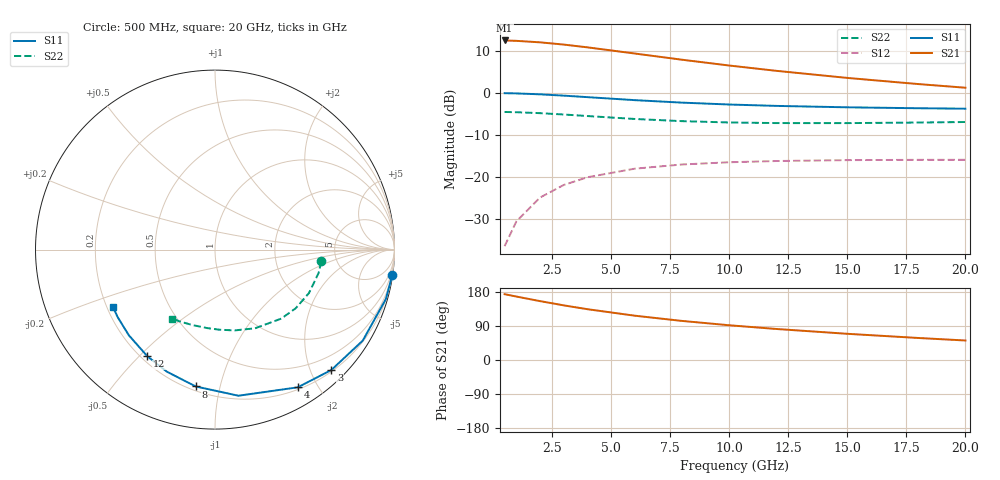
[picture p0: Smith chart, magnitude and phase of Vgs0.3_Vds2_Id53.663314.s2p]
# Hz S RI R 50
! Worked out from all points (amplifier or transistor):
!   12 points, 500 MHz to 20 GHz, reference 50 ohm
!   highest |S21| = 12.5 dB at 500 MHz (marker M1)
!   |S21| within 3 dB of that: start of sweep to 5.857 GHz
!   unconditionally stable (mu >= 1): 18.29 GHz to end of sweep
!   at 2 GHz: K = 0.11, MSG = 18.5 dB, |S12| = -24.9 dB
!   at 8 GHz: K = 0.43, MSG = 12.5 dB, |S12| = -17.0 dB
!   at 20 GHz: K = 1.10, MAG = 6.7 dB, |S12| = -15.9 dB
!   S11 on the Smith chart (normalised r, x): 500 MHz: 0, -14; 3 GHz: 0.23, -2.34; 4 GHz: 0.23, -1.75; 8 GHz: 0.23, -0.84; 12 GHz: 0.22, -0.53; 20 GHz: 0.22, -0.25
5e8  0.9878 -0.1407  -4.212 0.4668  0.00143 0.0149  0.5922 -0.0663
1e9  0.9521 -0.2753  -4.092 0.913  0.00559 0.0292  0.5773 -0.1301
2e9  0.8234 -0.5068  -3.658 1.678  0.0206 0.0532  0.5234 -0.2424
3e9  0.6483 -0.6708  -3.07 2.213  0.0409 0.0692  0.4494 -0.3272
4e9  0.461 -0.7673  -2.442 2.52  0.0625 0.0772  0.3693 -0.3845
6e9  0.1307 -0.8141  -1.345 2.641  0.0999 0.0763  0.223 -0.4385
8e9  -0.1072 -0.7626  -0.5692 2.434  0.1257 0.064  0.1094 -0.4503
1e10  -0.2677 -0.6804  -0.0632 2.13  0.1419 0.0486  0.0231 -0.4462
1.2e10  -0.3763 -0.5949  0.2609 1.823  0.1516 0.0333  -0.0454 -0.437
1.5e10  -0.4797 -0.4778  0.5401 1.418  0.1585 0.0127  -0.1284 -0.4198
1.8e10  -0.5418 -0.3771  0.6767 1.088  0.1603 -0.0046  -0.1976 -0.3997
2e10  -0.5693 -0.3179  0.722 0.9065  0.1598 -0.0146  -0.2386 -0.3844
